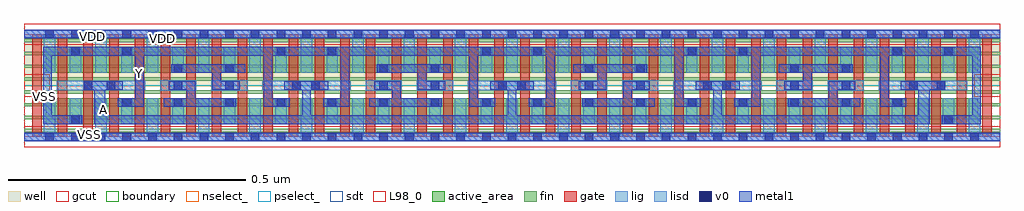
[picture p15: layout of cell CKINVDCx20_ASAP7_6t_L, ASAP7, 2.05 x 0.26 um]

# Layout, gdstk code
import gdstk
lib = gdstk.Library(unit=1e-6, precision=2.5e-10)
def R(c, l, rs):  # rectangles x0, y0, x1, y1
    for r in rs: c.add(gdstk.rectangle(r[:2], r[2:], *l))
def A(c, l, x, y, w, h, nx, ny, dx, dy):  # array of equal rectangles
    R(c, l, [(x+i*dx, y+j*dy, x+i*dx+w, y+j*dy+h) for i in range(nx) for j in range(ny)])
def P(c, l, *ps):  # polygons
    for p in ps: c.add(gdstk.Polygon(p, *l))
well = (1, 0)
fin = (2, 0)
gate = (7, 0)
gcut = (10, 0)
active_area = (11, 0)
nselect_ = (12, 0)
pselect_ = (13, 0)
lig = (16, 0)
lisd = (17, 0)
v0 = (18, 0)
metal1 = (19, 0)
sdt = (88, 0)
L98_0 = (98, 0)
boundary = (100, 0)

ckinvdcx20_asap7_6t_l = lib.new_cell('CKINVDCx20_ASAP7_6t_L')
R(ckinvdcx20_asap7_6t_l, well, [(0,0.108,2.052,0.216)])
A(ckinvdcx20_asap7_6t_l, fin, 0, 0.01, 2.052, 0.007, 1, 8, 0, 0.027)
A(ckinvdcx20_asap7_6t_l, gate, 0.017, 0, 0.02, 0.216, 38, 1, 0.054, 0)
R(ckinvdcx20_asap7_6t_l, gcut, [(0,-0.022,2.052,0.022), (0,0.084,0.054,0.132), (1.998,0.084,2.052,0.132), (0,0.194,2.052,0.238)])
R(ckinvdcx20_asap7_6t_l, active_area, [(0.046,0.027,2.006,0.081), (0.046,0.135,2.006,0.189)])
R(ckinvdcx20_asap7_6t_l, nselect_, [(0,0,2.052,0.108)])
R(ckinvdcx20_asap7_6t_l, pselect_, [(0,0.108,2.052,0.216)])
A(ckinvdcx20_asap7_6t_l, lig, 0.069, 0.098, 0.186, 0.02, 5, 1, 0.432, 0)
R(ckinvdcx20_asap7_6t_l, lig, [(0,-0.008,2.052,0.008), (0.286,0.097,0.362,0.119), (0.394,0.097,0.47,0.119), (0.718,0.097,0.794,0.119), (0.826,0.097,0.902,0.119), (1.15,0.097,1.226,0.119), (1.258,0.097,1.334,0.119), (1.582,0.097,1.658,0.119), (1.69,0.097,1.766,0.119), (0,0.208,2.052,0.224)])
A(ckinvdcx20_asap7_6t_l, lisd, 0.042, 0, 0.024, 0.081, 19, 2, 0.108, 0.135)
A(ckinvdcx20_asap7_6t_l, lisd, 0.096, 0.027, 0.024, 0.054, 18, 2, 0.108, 0.108)
A(ckinvdcx20_asap7_6t_l, v0, 0.045, -0.009, 0.018, 0.018, 37, 2, 0.054, 0.216)
A(ckinvdcx20_asap7_6t_l, v0, 0.207, 0.063, 0.018, 0.018, 16, 1, 0.108, 0)
R(ckinvdcx20_asap7_6t_l, v0, [(0.099,0.027,0.117,0.045), (1.935,0.027,1.953,0.045), (0.126,0.099,0.144,0.117), (0.174,0.099,0.192,0.117), (0.315,0.099,0.333,0.117), (0.423,0.099,0.441,0.117), (0.564,0.099,0.582,0.117), (0.604,0.099,0.622,0.117), (0.747,0.099,0.765,0.117), (0.855,0.099,0.873,0.117), (0.997,0.099,1.015,0.117), (1.037,0.099,1.055,0.117), (1.179,0.099,1.197,0.117), (1.287,0.099,1.305,0.117), (1.428,0.099,1.446,0.117), (1.468,0.099,1.486,0.117), (1.611,0.099,1.629,0.117), (1.719,0.099,1.737,0.117), (1.861,0.099,1.879,0.117), (1.919,0.099,1.937,0.117), (0.315,0.135,0.333,0.153), (0.423,0.135,0.441,0.153), (0.747,0.135,0.765,0.153), (0.855,0.135,0.873,0.153), (1.179,0.135,1.197,0.153), (1.287,0.135,1.305,0.153), (1.611,0.135,1.629,0.153), (1.719,0.135,1.737,0.153), (0.099,0.171,0.117,0.189), (0.207,0.171,0.225,0.189), (0.531,0.171,0.549,0.189), (0.639,0.171,0.657,0.189), (0.963,0.171,0.981,0.189), (1.071,0.171,1.089,0.189), (1.395,0.171,1.413,0.189), (1.503,0.171,1.521,0.189), (1.827,0.171,1.845,0.189), (1.935,0.171,1.953,0.189)])
R(ckinvdcx20_asap7_6t_l, metal1, [(0,-0.009,2.052,0.009), (0,0.207,2.052,0.225)])
P(ckinvdcx20_asap7_6t_l, metal1, [(0.446,0.081),(0.36,0.081),(0.36,0.117),(0.304,0.117),(0.304,0.099),(0.342,0.099),(0.342,0.081),(0.294,0.081),(0.294,0.063),(0.446,0.063)],
  [(0.465,0.153),(0.31,0.153),(0.31,0.135),(0.396,0.135),(0.396,0.099),(0.454,0.099),(0.454,0.117),(0.414,0.117),(0.414,0.135),(0.465,0.135)],
  [(2.012,0.189),(0.04,0.189),(0.04,0.027),(0.122,0.027),(0.122,0.045),(0.058,0.045),(0.058,0.171),(0.234,0.171),(0.234,0.081),(0.197,0.081),(0.197,0.063),(0.252,0.063),(0.252,0.171),(0.504,0.171),(0.504,0.063),(0.559,0.063),(0.559,0.081),(0.522,0.081),(0.522,0.171),(0.666,0.171),(0.666,0.081),(0.629,0.081),(0.629,0.063),(0.684,0.063),(0.684,0.171),(0.936,0.171),(0.936,0.063),(0.991,0.063),(0.991,0.081),(0.954,0.081),(0.954,0.171),(1.098,0.171),(1.098,0.081),(1.061,0.081),(1.061,0.063),(1.116,0.063),(1.116,0.171),(1.368,0.171),(1.368,0.063),(1.423,0.063),(1.423,0.081),(1.386,0.081),(1.386,0.171),(1.53,0.171),(1.53,0.081),(1.493,0.081),(1.493,0.063),(1.548,0.063),(1.548,0.171),(1.8,0.171),(1.8,0.063),(1.855,0.063),(1.855,0.081),(1.818,0.081),(1.818,0.171),(1.994,0.171),(1.994,0.045),(1.93,0.045),(1.93,0.027),(2.012,0.027)],
  [(1.937,0.117),(1.843,0.117),(1.843,0.099),(1.88,0.099),(1.88,0.045),(1.467,0.045),(1.467,0.099),(1.505,0.099),(1.505,0.117),(1.412,0.117),(1.412,0.099),(1.449,0.099),(1.449,0.045),(1.035,0.045),(1.035,0.099),(1.072,0.099),(1.072,0.117),(0.98,0.117),(0.98,0.099),(1.017,0.099),(1.017,0.045),(0.603,0.045),(0.603,0.099),(0.64,0.099),(0.64,0.117),(0.547,0.117),(0.547,0.099),(0.585,0.099),(0.585,0.045),(0.171,0.045),(0.171,0.099),(0.208,0.099),(0.208,0.117),(0.126,0.117),(0.126,0.099),(0.148,0.099),(0.148,0.027),(1.904,0.027),(1.904,0.099),(1.937,0.099)],
  [(0.878,0.081),(0.792,0.081),(0.792,0.117),(0.736,0.117),(0.736,0.099),(0.774,0.099),(0.774,0.081),(0.726,0.081),(0.726,0.063),(0.878,0.063)],
  [(0.897,0.153),(0.742,0.153),(0.742,0.135),(0.828,0.135),(0.828,0.099),(0.886,0.099),(0.886,0.117),(0.846,0.117),(0.846,0.135),(0.897,0.135)],
  [(1.31,0.153),(1.155,0.153),(1.155,0.135),(1.206,0.135),(1.206,0.117),(1.166,0.117),(1.166,0.099),(1.224,0.099),(1.224,0.135),(1.31,0.135)],
  [(1.326,0.081),(1.278,0.081),(1.278,0.099),(1.316,0.099),(1.316,0.117),(1.26,0.117),(1.26,0.081),(1.174,0.081),(1.174,0.063),(1.326,0.063)],
  [(1.742,0.153),(1.587,0.153),(1.587,0.135),(1.638,0.135),(1.638,0.117),(1.598,0.117),(1.598,0.099),(1.656,0.099),(1.656,0.135),(1.742,0.135)],
  [(1.758,0.081),(1.71,0.081),(1.71,0.099),(1.748,0.099),(1.748,0.117),(1.692,0.117),(1.692,0.081),(1.606,0.081),(1.606,0.063),(1.758,0.063)])
A(ckinvdcx20_asap7_6t_l, sdt, 0.042, 0.027, 0.024, 0.054, 37, 2, 0.054, 0.108)
R(ckinvdcx20_asap7_6t_l, L98_0, [(0,0,2.052,0.216)])
R(ckinvdcx20_asap7_6t_l, boundary, [(0,0,2.052,0.216)])
ckinvdcx20_asap7_6t_l.add(gdstk.Label('VDD', (0.292,0.207), layer=1, texttype=251))
ckinvdcx20_asap7_6t_l.add(gdstk.Label('VSS', (0.043,0.085), layer=3, texttype=251))
ckinvdcx20_asap7_6t_l.add(gdstk.Label('VSS', (0.137,0.006), layer=19, texttype=251))
ckinvdcx20_asap7_6t_l.add(gdstk.Label('VDD', (0.144,0.2105), layer=19, texttype=251))
ckinvdcx20_asap7_6t_l.add(gdstk.Label('A', (0.168,0.057), layer=19, texttype=251))
ckinvdcx20_asap7_6t_l.add(gdstk.Label('Y', (0.243,0.133), layer=19, texttype=251))

lib.write_gds('CKINVDCx20_ASAP7_6t_L.gds')
